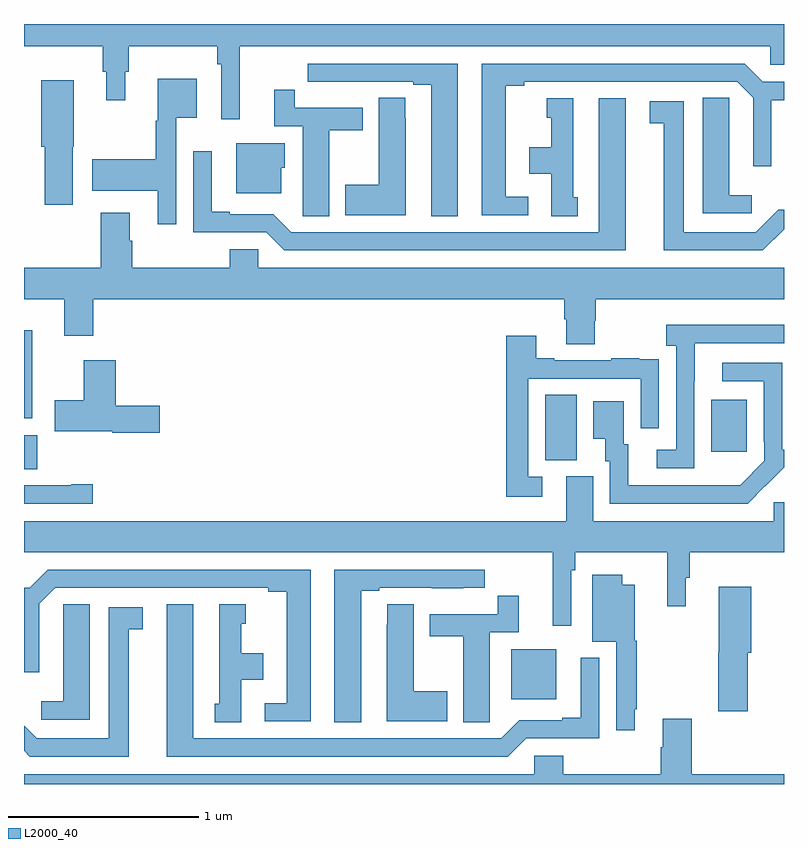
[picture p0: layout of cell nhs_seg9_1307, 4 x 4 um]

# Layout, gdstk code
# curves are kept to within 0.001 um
import gdstk
lib = gdstk.Library(unit=1e-6, precision=1e-09)
def R(c, l, rs):  # rectangles x0, y0, x1, y1
    for r in rs: c.add(gdstk.rectangle(r[:2], r[2:], *l))
def P(c, l, *ps):  # polygons
    for p in ps: c.add(gdstk.Polygon(p, *l))
L2000_40 = (2000, 40)

nhs_seg9_1307 = lib.new_cell('nhs_seg9_1307')
R(nhs_seg9_1307, L2000_40, [(185.564,1228.946,185.8,1229.209), (183,1230.157,183.071,1230.336), (185.744,1230.205,185.908,1230.548), (186.617,1230.249,186.805,1230.523), (183,1230.425,183.043,1230.889)])
P(nhs_seg9_1307, L2000_40, [(183,1232.384),(183.415,1232.384),(183.415,1232.25),(183.434,1232.25),(183.434,1232.1),(183.532,1232.1),(183.532,1232.25),(183.551,1232.25),(183.551,1232.384),(184.018,1232.384),(184.018,1232.288),(184.038,1232.288),(184.038,1231.998),(184.136,1231.998),(184.136,1232.384),(186.927,1232.384),(186.927,1232.286),(187,1232.286),(187,1232.5),(183,1232.5)],
  [(185.284,1232.292),(184.494,1232.292),(184.494,1232.196),(184.606,1232.196),(184.606,1232.195),(184.772,1232.195),(184.772,1232.196),(185.048,1232.196),(185.048,1232.181),(185.144,1232.181),(185.144,1231.489),(185.284,1231.489)],
  [(185.653,1231.59),(185.536,1231.59),(185.536,1232.176),(185.632,1232.176),(185.632,1232.196),(186.753,1232.196),(186.837,1232.112),(186.837,1231.752),(186.933,1231.752),(186.933,1232.1),(187,1232.1),(187,1232.196),(186.889,1232.196),(186.793,1232.292),(185.408,1232.292),(185.408,1231.494),(185.653,1231.494)],
  [(183.801,1232.006),(183.91,1232.006),(183.91,1232.212),(183.704,1232.212),(183.704,1231.992),(183.693,1231.992),(183.693,1231.788),(183.36,1231.788),(183.36,1231.622),(183.704,1231.622),(183.704,1231.446),(183.801,1231.446)],
  [(183.256,1231.854),(183.262,1231.854),(183.262,1232.203),(183.092,1232.203),(183.092,1231.854),(183.11,1231.854),(183.11,1231.548),(183.256,1231.548)],
  [(184.606,1231.942),(184.783,1231.942),(184.783,1232.058),(184.424,1232.058),(184.424,1232.155),(184.316,1232.155),(184.316,1231.962),(184.466,1231.962),(184.466,1231.6),(184.467,1231.6),(184.467,1231.489),(184.606,1231.489)],
  [(185.008,1232.003),(185.007,1232.003),(185.007,1232.111),(184.868,1232.111),(184.868,1231.653),(184.691,1231.653),(184.691,1231.493),(185.008,1231.493)],
  [(186.829,1231.6),(186.712,1231.6),(186.712,1232.003),(186.711,1232.003),(186.711,1232.111),(186.572,1232.111),(186.572,1231.503),(186.829,1231.503)],
  [(186.166,1232.11),(186.026,1232.11),(186.026,1231.404),(184.407,1231.404),(184.311,1231.5),(184.084,1231.5),(184.084,1231.513),(183.988,1231.513),(183.988,1231.831),(183.891,1231.831),(183.891,1231.404),(184.275,1231.404),(184.371,1231.308),(186.166,1231.308)],
  [(185.914,1231.587),(185.89,1231.587),(185.89,1232.11),(185.75,1232.11),(185.75,1232.007),(185.774,1232.007),(185.774,1231.852),(185.66,1231.852),(185.66,1231.712),(185.774,1231.712),(185.774,1231.489),(185.914,1231.489)],
  [(187,1231.42),(187,1231.522),(186.97,1231.522),(186.852,1231.404),(186.472,1231.404),(186.472,1232.094),(186.294,1232.094),(186.294,1231.978),(186.368,1231.978),(186.368,1231.308),(186.888,1231.308)],
  [(184.354,1231.743),(184.372,1231.743),(184.372,1231.873),(184.118,1231.873),(184.118,1231.61),(184.354,1231.61)],
  [(186.003,1230.939),(186.008,1230.939),(186.008,1231.052),(187,1231.052),(187,1231.216),(184.233,1231.216),(184.233,1231.314),(184.082,1231.314),(184.082,1231.216),(183.569,1231.216),(183.569,1231.358),(183.556,1231.358),(183.556,1231.507),(183.404,1231.507),(183.404,1231.216),(183,1231.216),(183,1231.052),(183.212,1231.052),(183.212,1230.858),(183.365,1230.858),(183.365,1231.052),(185.843,1231.052),(185.843,1230.946),(185.855,1230.946),(185.855,1230.814),(186.003,1230.814)],
  [(186.528,1230.619),(186.529,1230.619),(186.529,1230.819),(187,1230.819),(187,1230.916),(186.381,1230.916),(186.381,1230.806),(186.432,1230.806),(186.432,1230.258),(186.33,1230.258),(186.33,1230.162),(186.528,1230.162)],
  [(185.728,1230.117),(185.655,1230.117),(185.655,1230.633),(186.246,1230.633),(186.246,1230.372),(186.342,1230.372),(186.342,1230.626),(186.341,1230.626),(186.341,1230.735),(186.239,1230.735),(186.239,1230.742),(186.091,1230.742),(186.091,1230.729),(185.791,1230.729),(185.791,1230.742),(185.695,1230.742),(185.695,1230.859),(185.539,1230.859),(185.539,1230.012),(185.728,1230.012)],
  [(183.715,1230.491),(183.482,1230.491),(183.482,1230.73),(183.314,1230.73),(183.314,1230.519),(183.162,1230.519),(183.162,1230.356),(183.465,1230.356),(183.465,1230.349),(183.715,1230.349)],
  [(186.899,1230.067),(186.9,1230.066),(187,1230.166),(187,1230.259),(186.99,1230.259),(186.99,1230.717),(186.675,1230.717),(186.675,1230.621),(186.894,1230.621),(186.894,1230.301),(186.897,1230.301),(186.897,1230.201),(186.769,1230.073),(186.181,1230.072),(186.181,1230.288),(186.157,1230.288),(186.157,1230.514),(185.996,1230.514),(185.996,1230.317),(186.059,1230.317),(186.059,1230.198),(186.084,1230.198),(186.084,1229.976),(186.808,1229.976)],
  [(185.88,1229.624),(185.9,1229.624),(185.9,1229.72),(186.385,1229.72),(186.385,1229.436),(186.484,1229.436),(186.484,1229.586),(186.503,1229.586),(186.503,1229.72),(187,1229.72),(187,1229.982),(186.945,1229.982),(186.945,1229.884),(185.995,1229.884),(185.995,1230.12),(185.855,1230.12),(185.855,1229.884),(183,1229.884),(183,1229.72),(185.783,1229.72),(185.783,1229.334),(185.88,1229.334)],
  [(183.361,1230.077),(183.248,1230.077),(183.248,1230.072),(183,1230.072),(183,1229.976),(183.361,1229.976)],
  [(184.51,1229.628),(183.125,1229.628),(183.029,1229.532),(183,1229.532),(183,1229.088),(183.081,1229.088),(183.081,1229.448),(183.165,1229.532),(184.286,1229.532),(184.286,1229.512),(184.382,1229.512),(184.382,1228.926),(184.266,1228.926),(184.266,1228.83),(184.51,1228.83)],
  [(184.774,1229.517),(184.87,1229.517),(184.87,1229.532),(185.146,1229.532),(185.146,1229.531),(185.312,1229.531),(185.312,1229.532),(185.425,1229.532),(185.425,1229.628),(184.634,1229.628),(184.634,1228.825),(184.774,1228.825)],
  [(186.214,1228.894),(186.226,1228.894),(186.226,1229.253),(186.214,1229.253),(186.214,1229.548),(186.148,1229.548),(186.148,1229.602),(185.99,1229.602),(185.99,1229.249),(186.117,1229.249),(186.117,1228.782),(186.214,1228.782)],
  [(186.809,1229.19),(186.827,1229.19),(186.827,1229.539),(186.656,1229.539),(186.656,1229.19),(186.655,1229.19),(186.655,1228.884),(186.809,1228.884)],
  [(185.451,1228.936),(185.452,1228.936),(185.452,1229.298),(185.603,1229.298),(185.603,1229.491),(185.494,1229.491),(185.494,1229.394),(185.135,1229.394),(185.135,1229.278),(185.312,1229.278),(185.312,1228.825),(185.451,1228.825)],
  [(183.346,1229.447),(183.207,1229.447),(183.207,1229.339),(183.206,1229.339),(183.206,1228.936),(183.09,1228.936),(183.09,1228.839),(183.346,1228.839)],
  [(185.227,1228.989),(185.05,1228.989),(185.05,1229.447),(184.911,1229.447),(184.911,1229.339),(184.91,1229.339),(184.91,1228.829),(185.227,1228.829)],
  [(184.144,1229.048),(184.258,1229.048),(184.258,1229.188),(184.144,1229.188),(184.144,1229.343),(184.168,1229.343),(184.168,1229.446),(184.028,1229.446),(184.028,1228.923),(184.004,1228.923),(184.004,1228.825),(184.144,1228.825)],
  [(185.643,1228.74),(186.027,1228.74),(186.027,1229.164),(185.93,1229.164),(185.93,1228.849),(185.834,1228.849),(185.834,1228.836),(185.607,1228.836),(185.511,1228.74),(183.892,1228.74),(183.892,1229.446),(183.752,1229.446),(183.752,1228.644),(185.547,1228.644)],
  [(183.55,1229.314),(183.625,1229.314),(183.625,1229.43),(183.446,1229.43),(183.446,1228.74),(183.066,1228.74),(183,1228.806),(183,1228.674),(183.03,1228.644),(183.55,1228.644)],
  [(185.837,1228.65),(185.685,1228.65),(185.685,1228.552),(183,1228.552),(183,1228.5),(187,1228.5),(187,1228.552),(186.515,1228.552),(186.515,1228.843),(186.362,1228.843),(186.362,1228.694),(186.35,1228.694),(186.35,1228.552),(185.837,1228.552)])

lib.write_gds('nhs_seg9_1307.gds')
